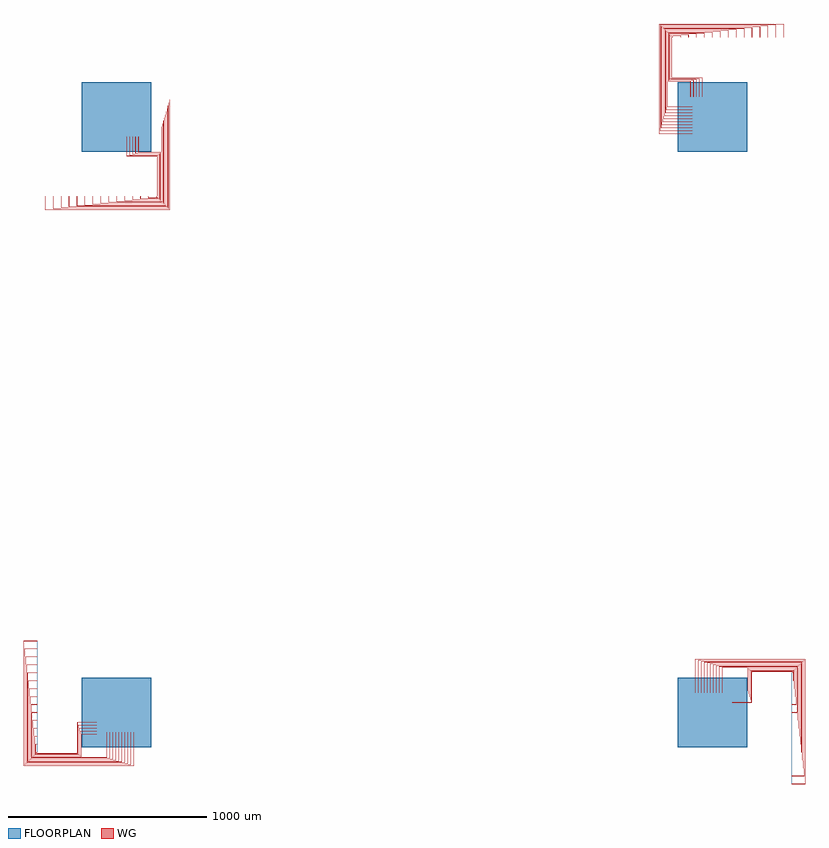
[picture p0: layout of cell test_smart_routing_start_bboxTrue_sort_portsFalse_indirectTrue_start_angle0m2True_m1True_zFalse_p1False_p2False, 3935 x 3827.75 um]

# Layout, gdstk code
import gdstk
lib = gdstk.Library(unit=1e-6, precision=1e-09)
def R(c, l, rs):  # rectangles x0, y0, x1, y1
    for r in rs: c.add(gdstk.rectangle(r[:2], r[2:], *l))
def P(c, l, *ps):  # polygons
    for p in ps: c.add(gdstk.Polygon(p, *l))
WG = (1, 0)
FLOORPLAN = (10, 0)

test_smart_routing_start = lib.new_cell('test_smart_routing_start_bboxTrue_sort_portsFalse_indirectTrue_start_angle0m2True_m1True_zFalse_p1False_p2False')
P(test_smart_routing_start, WG, [(-404.5,-204.75),(-404.5,-199.75),(-400,-199.75),(-400,-200.25),(-404,-200.25),(-404,-204.25),(-197.5,-204.25),(-197.5,-49.75),(-100,-49.75),(-100,-50.25),(-197,-50.25),(-197,-204.75)],
  [(-409,-209.25),(-409,-159.75),(-400,-159.75),(-400,-160.25),(-408.5,-160.25),(-408.5,-208.75),(-193,-208.75),(-193,-64.75),(-100,-64.75),(-100,-65.25),(-192.5,-65.25),(-192.5,-209.25)],
  [(-413.5,-213.75),(-413.5,-119.75),(-400,-119.75),(-400,-120.25),(-413,-120.25),(-413,-213.25),(-188.5,-213.25),(-188.5,-79.75),(-100,-79.75),(-100,-80.25),(-188,-80.25),(-188,-213.75)],
  [(-418,-218.25),(-418,-79.75),(-400,-79.75),(-400,-80.25),(-417.5,-80.25),(-417.5,-217.75),(-184,-217.75),(-184,-94.75),(-100,-94.75),(-100,-95.25),(-183.5,-95.25),(-183.5,-218.25)],
  [(-422.5,-222.75),(-422.5,-39.75),(-400,-39.75),(-400,-40.25),(-422,-40.25),(-422,-222.25),(-179.5,-222.25),(-179.5,-109.75),(-100,-109.75),(-100,-110.25),(-179,-110.25),(-179,-222.75)],
  [(-427,-227.25),(-427,0.25),(-400,0.25),(-400,-0.25),(-426.5,-0.25),(-426.5,-226.75),(-50.25,-226.75),(-50.25,-100),(-49.75,-100),(-49.75,-227.25)],
  [(-431.5,-231.75),(-431.5,40.25),(-400,40.25),(-400,39.75),(-431,39.75),(-431,-231.25),(-35.25,-231.25),(-35.25,-100),(-34.75,-100),(-34.75,-231.75)],
  [(-436,-236.25),(-436,80.25),(-400,80.25),(-400,79.75),(-435.5,79.75),(-435.5,-235.75),(-20.25,-235.75),(-20.25,-100),(-19.75,-100),(-19.75,-236.25)],
  [(-440.5,-240.75),(-440.5,120.25),(-400,120.25),(-400,119.75),(-440,119.75),(-440,-240.25),(-5.25,-240.25),(-5.25,-100),(-4.75,-100),(-4.75,-240.75)],
  [(-445,-245.25),(-445,160.25),(-400,160.25),(-400,159.75),(-444.5,159.75),(-444.5,-244.75),(9.75,-244.75),(9.75,-100),(10.25,-100),(10.25,-245.25)],
  [(-449.5,-249.75),(-449.5,200.25),(-400,200.25),(-400,199.75),(-449,199.75),(-449,-249.25),(24.75,-249.25),(24.75,-100),(25.25,-100),(25.25,-249.75)],
  [(-454,-254.25),(-454,240.25),(-400,240.25),(-400,239.75),(-453.5,239.75),(-453.5,-253.75),(39.75,-253.75),(39.75,-100),(40.25,-100),(40.25,-254.25)],
  [(-458.5,-258.75),(-458.5,280.25),(-400,280.25),(-400,279.75),(-458,279.75),(-458,-258.25),(54.75,-258.25),(54.75,-100),(55.25,-100),(55.25,-258.75)],
  [(-463,-263.25),(-463,320.25),(-400,320.25),(-400,319.75),(-462.5,319.75),(-462.5,-262.75),(69.75,-262.75),(69.75,-100),(70.25,-100),(70.25,-263.25)],
  [(-467.5,-267.75),(-467.5,360.25),(-400,360.25),(-400,359.75),(-467,359.75),(-467,-267.25),(84.75,-267.25),(84.75,-100),(85.25,-100),(85.25,-267.75)],
  [(199.75,2595.5),(199.75,2600),(200.25,2600),(200.25,2596),(204.25,2596),(204.25,2802.5),(49.75,2802.5),(49.75,2900),(50.25,2900),(50.25,2803),(204.75,2803),(204.75,2595.5)],
  [(159.75,2591),(159.75,2600),(160.25,2600),(160.25,2591.5),(208.75,2591.5),(208.75,2807),(64.75,2807),(64.75,2900),(65.25,2900),(65.25,2807.5),(209.25,2807.5),(209.25,2591)],
  [(119.75,2586.5),(119.75,2600),(120.25,2600),(120.25,2587),(213.25,2587),(213.25,2811.5),(79.75,2811.5),(79.75,2900),(80.25,2900),(80.25,2812),(213.75,2812),(213.75,2586.5)],
  [(79.75,2582),(79.75,2600),(80.25,2600),(80.25,2582.5),(217.75,2582.5),(217.75,2816),(94.75,2816),(94.75,2900),(95.25,2900),(95.25,2816.5),(218.25,2816.5),(218.25,2582)],
  [(39.75,2577.5),(39.75,2600),(40.25,2600),(40.25,2578),(222.25,2578),(222.25,2820.5),(109.75,2820.5),(109.75,2900),(110.25,2900),(110.25,2821),(222.75,2821),(222.75,2577.5)],
  [(-0.25,2573),(-0.25,2600),(0.25,2600),(0.25,2573.5),(226.75,2573.5),(226.75,2949.75),(100,2949.75),(100,2950.25),(227.25,2950.25),(227.25,2573)],
  [(-40.25,2568.5),(-40.25,2600),(-39.75,2600),(-39.75,2569),(231.25,2569),(231.25,2964.75),(100,2964.75),(100,2965.25),(231.75,2965.25),(231.75,2568.5)],
  [(-80.25,2564),(-80.25,2600),(-79.75,2600),(-79.75,2564.5),(235.75,2564.5),(235.75,2979.75),(100,2979.75),(100,2980.25),(236.25,2980.25),(236.25,2564)],
  [(-120.25,2559.5),(-120.25,2600),(-119.75,2600),(-119.75,2560),(240.25,2560),(240.25,2994.75),(100,2994.75),(100,2995.25),(240.75,2995.25),(240.75,2559.5)],
  [(-160.25,2555),(-160.25,2600),(-159.75,2600),(-159.75,2555.5),(244.75,2555.5),(244.75,3009.75),(100,3009.75),(100,3010.25),(245.25,3010.25),(245.25,2555)],
  [(-200.25,2550.5),(-200.25,2600),(-199.75,2600),(-199.75,2551),(249.25,2551),(249.25,3024.75),(100,3024.75),(100,3025.25),(249.75,3025.25),(249.75,2550.5)],
  [(-240.25,2546),(-240.25,2600),(-239.75,2600),(-239.75,2546.5),(253.75,2546.5),(253.75,3039.75),(100,3039.75),(100,3040.25),(254.25,3040.25),(254.25,2546)],
  [(-280.25,2541.5),(-280.25,2600),(-279.75,2600),(-279.75,2542),(258.25,2542),(258.25,3054.75),(100,3054.75),(100,3055.25),(258.75,3055.25),(258.75,2541.5)],
  [(-320.25,2537),(-320.25,2600),(-319.75,2600),(-319.75,2537.5),(262.75,2537.5),(262.75,3069.75),(100,3069.75),(100,3070.25),(263.25,3070.25),(263.25,2537)],
  [(-360.25,2532.5),(-360.25,2600),(-359.75,2600),(-359.75,2533),(267.25,2533),(267.25,3084.75),(100,3084.75),(100,3085.25),(267.75,3085.25),(267.75,2532.5)],
  [(3100,49.75),(3100,50.25),(3197,50.25),(3197,204.75),(3404.5,204.75),(3404.5,199.75),(3400,199.75),(3400,200.25),(3404,200.25),(3404,204.25),(3197.5,204.25),(3197.5,49.75)],
  [(3100,64.75),(3100,65.25),(3192.5,65.25),(3192.5,209.25),(3409,209.25),(3409,159.75),(3400,159.75),(3400,160.25),(3408.5,160.25),(3408.5,208.75),(3193,208.75),(3193,64.75)],
  [(3100,79.75),(3100,80.25),(3188,80.25),(3188,213.75),(3413.5,213.75),(3413.5,119.75),(3400,119.75),(3400,120.25),(3413,120.25),(3413,213.25),(3188.5,213.25),(3188.5,79.75)],
  [(3400,79.75),(3400,80.25),(3417.5,80.25),(3417.5,217.75),(3184,217.75),(3184,94.75),(3100,94.75),(3100,95.25),(3183.5,95.25),(3183.5,218.25),(3418,218.25),(3418,79.75)],
  [(3400,39.75),(3400,40.25),(3422,40.25),(3422,222.25),(3179.5,222.25),(3179.5,109.75),(3100,109.75),(3100,110.25),(3179,110.25),(3179,222.75),(3422.5,222.75),(3422.5,39.75)],
  [(3400,-0.25),(3400,0.25),(3426.5,0.25),(3426.5,226.75),(3050.25,226.75),(3050.25,100),(3049.75,100),(3049.75,227.25),(3427,227.25),(3427,-0.25)],
  [(3400,-40.25),(3400,-39.75),(3431,-39.75),(3431,231.25),(3035.25,231.25),(3035.25,100),(3034.75,100),(3034.75,231.75),(3431.5,231.75),(3431.5,-40.25)],
  [(3400,-80.25),(3400,-79.75),(3435.5,-79.75),(3435.5,235.75),(3020.25,235.75),(3020.25,100),(3019.75,100),(3019.75,236.25),(3436,236.25),(3436,-80.25)],
  [(3400,-120.25),(3400,-119.75),(3440,-119.75),(3440,240.25),(3005.25,240.25),(3005.25,100),(3004.75,100),(3004.75,240.75),(3440.5,240.75),(3440.5,-120.25)],
  [(3400,-160.25),(3400,-159.75),(3444.5,-159.75),(3444.5,244.75),(2990.25,244.75),(2990.25,100),(2989.75,100),(2989.75,245.25),(3445,245.25),(3445,-160.25)],
  [(3400,-200.25),(3400,-199.75),(3449,-199.75),(3449,249.25),(2975.25,249.25),(2975.25,100),(2974.75,100),(2974.75,249.75),(3449.5,249.75),(3449.5,-200.25)],
  [(3400,-240.25),(3400,-239.75),(3453.5,-239.75),(3453.5,253.75),(2960.25,253.75),(2960.25,100),(2959.75,100),(2959.75,254.25),(3454,254.25),(3454,-240.25)],
  [(3400,-280.25),(3400,-279.75),(3458,-279.75),(3458,258.25),(2945.25,258.25),(2945.25,100),(2944.75,100),(2944.75,258.75),(3458.5,258.75),(3458.5,-280.25)],
  [(3400,-320.25),(3400,-319.75),(3462.5,-319.75),(3462.5,262.75),(2930.25,262.75),(2930.25,100),(2929.75,100),(2929.75,263.25),(3463,263.25),(3463,-320.25)],
  [(3400,-360.25),(3400,-359.75),(3467,-359.75),(3467,267.25),(2915.25,267.25),(2915.25,100),(2914.75,100),(2914.75,267.75),(3467.5,267.75),(3467.5,-360.25)],
  [(2949.75,3100),(2949.75,3197),(2795.25,3197),(2795.25,3404.5),(2800.25,3404.5),(2800.25,3400),(2799.75,3400),(2799.75,3404),(2795.75,3404),(2795.75,3197.5),(2950.25,3197.5),(2950.25,3100)],
  [(2934.75,3100),(2934.75,3192.5),(2790.75,3192.5),(2790.75,3409),(2840.25,3409),(2840.25,3400),(2839.75,3400),(2839.75,3408.5),(2791.25,3408.5),(2791.25,3193),(2935.25,3193),(2935.25,3100)],
  [(2919.75,3100),(2919.75,3188),(2786.25,3188),(2786.25,3413.5),(2880.25,3413.5),(2880.25,3400),(2879.75,3400),(2879.75,3413),(2786.75,3413),(2786.75,3188.5),(2920.25,3188.5),(2920.25,3100)],
  [(2904.75,3100),(2904.75,3183.5),(2781.75,3183.5),(2781.75,3418),(2920.25,3418),(2920.25,3400),(2919.75,3400),(2919.75,3417.5),(2782.25,3417.5),(2782.25,3184),(2905.25,3184),(2905.25,3100)],
  [(2889.75,3100),(2889.75,3179),(2777.25,3179),(2777.25,3422.5),(2960.25,3422.5),(2960.25,3400),(2959.75,3400),(2959.75,3422),(2777.75,3422),(2777.75,3179.5),(2890.25,3179.5),(2890.25,3100)],
  [(2772.75,3049.75),(2772.75,3427),(3000.25,3427),(3000.25,3400),(2999.75,3400),(2999.75,3426.5),(2773.25,3426.5),(2773.25,3050.25),(2900,3050.25),(2900,3049.75)],
  [(2768.25,3034.75),(2768.25,3431.5),(3040.25,3431.5),(3040.25,3400),(3039.75,3400),(3039.75,3431),(2768.75,3431),(2768.75,3035.25),(2900,3035.25),(2900,3034.75)],
  [(2763.75,3019.75),(2763.75,3436),(3080.25,3436),(3080.25,3400),(3079.75,3400),(3079.75,3435.5),(2764.25,3435.5),(2764.25,3020.25),(2900,3020.25),(2900,3019.75)],
  [(2759.25,3004.75),(2759.25,3440.5),(3120.25,3440.5),(3120.25,3400),(3119.75,3400),(3119.75,3440),(2759.75,3440),(2759.75,3005.25),(2900,3005.25),(2900,3004.75)],
  [(2754.75,2989.75),(2754.75,3445),(3160.25,3445),(3160.25,3400),(3159.75,3400),(3159.75,3444.5),(2755.25,3444.5),(2755.25,2990.25),(2900,2990.25),(2900,2989.75)],
  [(2750.25,2974.75),(2750.25,3449.5),(3200.25,3449.5),(3200.25,3400),(3199.75,3400),(3199.75,3449),(2750.75,3449),(2750.75,2975.25),(2900,2975.25),(2900,2974.75)],
  [(2745.75,2959.75),(2745.75,3454),(3240.25,3454),(3240.25,3400),(3239.75,3400),(3239.75,3453.5),(2746.25,3453.5),(2746.25,2960.25),(2900,2960.25),(2900,2959.75)],
  [(2741.25,2944.75),(2741.25,3458.5),(3280.25,3458.5),(3280.25,3400),(3279.75,3400),(3279.75,3458),(2741.75,3458),(2741.75,2945.25),(2900,2945.25),(2900,2944.75)],
  [(2736.75,2929.75),(2736.75,3463),(3320.25,3463),(3320.25,3400),(3319.75,3400),(3319.75,3462.5),(2737.25,3462.5),(2737.25,2930.25),(2900,2930.25),(2900,2929.75)],
  [(2732.25,2914.75),(2732.25,3467.5),(3360.25,3467.5),(3360.25,3400),(3359.75,3400),(3359.75,3467),(2732.75,3467),(2732.75,2915.25),(2900,2915.25),(2900,2914.75)])
R(test_smart_routing_start, FLOORPLAN, [(-175,-175,175,175), (2825,-175,3175,175), (-175,2825,175,3175), (2825,2825,3175,3175)])
P(test_smart_routing_start, FLOORPLAN, [(-400,-200),(-400,360),(-400,360),(-400,-200)],
  [(-360,2600),(-360,2600),(200,2600),(200,2600)],
  [(3400,-360),(3400,200),(3400,200),(3400,-360)],
  [(2800,3400),(2800,3400),(3360,3400),(3360,3400)])

lib.write_gds('test_smart_routing_start_bboxTrue_sort_portsFalse_indirectTrue_start_angle0m2True_m1True_zFalse_p1False_p2False.gds')
